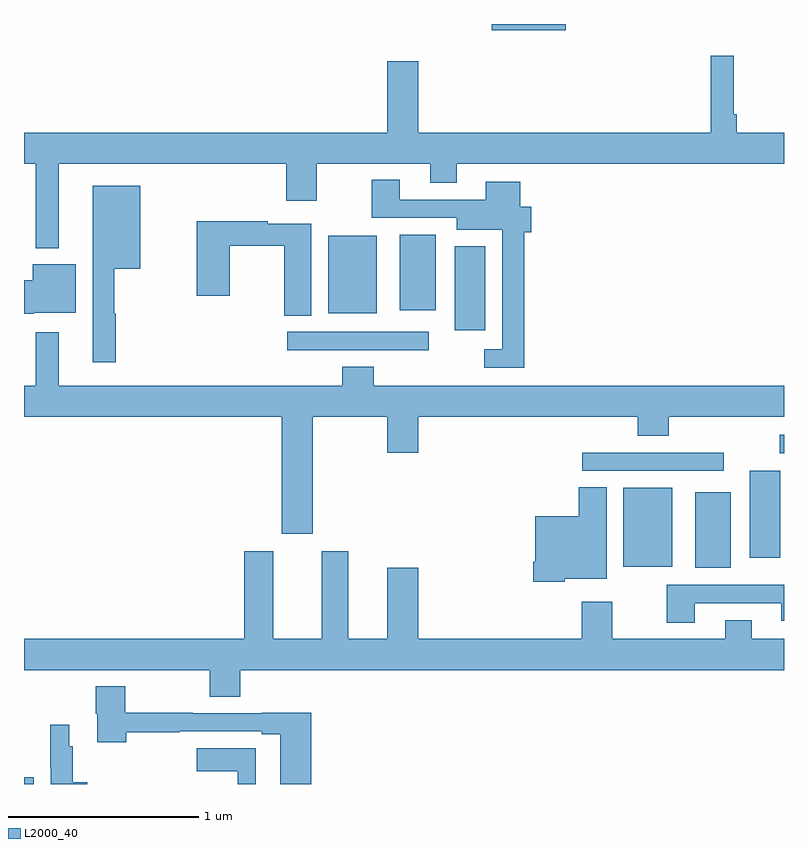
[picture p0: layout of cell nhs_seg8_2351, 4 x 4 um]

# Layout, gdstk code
import gdstk
lib = gdstk.Library(unit=1e-6, precision=1e-09)
def R(c, l, rs):  # rectangles x0, y0, x1, y1
    for r in rs: c.add(gdstk.rectangle(r[:2], r[2:], *l))
def P(c, l, *ps):  # polygons
    for p in ps: c.add(gdstk.Polygon(p, *l))
L2000_40 = (2000, 40)

nhs_seg8_2351 = lib.new_cell('nhs_seg8_2351')
R(nhs_seg8_2351, L2000_40, [(259,1115.9,259.051,1115.935), (262.532,1117.037,262.72,1117.435), (262.154,1117.043,262.411,1117.459), (262.82,1117.092,262.981,1117.549), (261.939,1117.548,262.684,1117.644), (262.977,1117.641,263,1117.737), (260.385,1118.184,261.13,1118.28), (261.266,1118.289,261.427,1118.731), (260.6,1118.378,260.857,1118.785), (260.978,1118.393,261.166,1118.791), (261.462,1119.866,261.85,1119.9)])
P(nhs_seg8_2351, L2000_40, [(262.615,1119.733),(262.615,1119.328),(261.076,1119.328),(261.076,1119.703),(260.912,1119.703),(260.912,1119.328),(259,1119.328),(259,1119.164),(259.062,1119.164),(259.062,1118.72),(259.183,1118.72),(259.183,1119.164),(260.381,1119.164),(260.381,1118.97),(260.541,1118.97),(260.541,1119.164),(261.137,1119.164),(261.137,1119.065),(261.277,1119.065),(261.277,1119.164),(263,1119.164),(263,1119.328),(262.751,1119.328),(262.751,1119.424),(262.736,1119.424),(262.736,1119.733)],
  [(261.632,1118.804),(261.671,1118.804),(261.671,1118.938),(261.613,1118.938),(261.613,1119.07),(261.431,1119.07),(261.431,1118.976),(260.977,1118.976),(260.977,1119.079),(260.83,1119.079),(260.83,1118.88),(261.278,1118.88),(261.278,1118.816),(261.516,1118.816),(261.516,1118.187),(261.423,1118.187),(261.423,1118.091),(261.632,1118.091)],
  [(259.483,1118.375),(259.475,1118.375),(259.475,1118.612),(259.612,1118.612),(259.612,1119.049),(259.361,1119.049),(259.361,1118.121),(259.483,1118.121)],
  [(260.512,1118.85),(260.282,1118.85),(260.282,1118.863),(259.909,1118.863),(259.909,1118.469),(260.082,1118.469),(260.082,1118.734),(260.371,1118.734),(260.371,1118.365),(260.512,1118.365)],
  [(259.05,1118.381),(259.273,1118.381),(259.273,1118.635),(259.046,1118.635),(259.046,1118.552),(259,1118.552),(259,1118.374),(259.05,1118.374)],
  [(260.521,1117.832),(260.912,1117.832),(260.912,1117.644),(261.076,1117.644),(261.076,1117.832),(262.229,1117.832),(262.229,1117.733),(262.394,1117.733),(262.394,1117.832),(263,1117.832),(263,1117.996),(260.84,1117.996),(260.84,1118.095),(260.675,1118.095),(260.675,1117.996),(259.183,1117.996),(259.183,1118.278),(259.062,1118.278),(259.062,1117.996),(259,1117.996),(259,1117.832),(260.357,1117.832),(260.357,1117.218),(260.521,1117.218)],
  [(261.846,1116.98),(262.066,1116.98),(262.066,1117.463),(261.92,1117.463),(261.92,1117.309),(261.692,1117.309),(261.692,1117.069),(261.68,1117.069),(261.68,1116.965),(261.846,1116.965)],
  [(260.138,1116.5),(263,1116.5),(263,1116.664),(262.831,1116.664),(262.831,1116.763),(262.691,1116.763),(262.691,1116.664),(262.095,1116.664),(262.095,1116.859),(261.935,1116.859),(261.935,1116.664),(261.076,1116.664),(261.076,1117.039),(260.912,1117.039),(260.912,1116.664),(260.707,1116.664),(260.707,1117.126),(260.567,1117.126),(260.567,1116.664),(260.311,1116.664),(260.311,1117.126),(260.159,1117.126),(260.159,1116.664),(259,1116.664),(259,1116.5),(259.978,1116.5),(259.978,1116.358),(260.138,1116.358)],
  [(262.531,1116.852),(262.985,1116.852),(262.985,1116.758),(263,1116.758),(263,1116.948),(262.384,1116.948),(262.384,1116.75),(262.531,1116.75)],
  [(260.513,1116.276),(260.252,1116.276),(260.252,1116.273),(259.889,1116.273),(259.889,1116.276),(259.533,1116.276),(259.533,1116.415),(259.378,1116.415),(259.378,1116.27),(259.385,1116.27),(259.385,1116.12),(259.538,1116.12),(259.538,1116.172),(259.82,1116.172),(259.82,1116.177),(260.252,1116.177),(260.252,1116.161),(260.348,1116.161),(260.348,1115.9),(260.513,1115.9)],
  [(259.333,1115.908),(259.256,1115.908),(259.256,1116.098),(259.237,1116.098),(259.237,1116.211),(259.139,1116.211),(259.139,1115.989),(259.14,1115.989),(259.14,1115.9),(259.333,1115.9)],
  [(260.22,1116.087),(259.908,1116.087),(259.908,1115.966),(260.124,1115.966),(260.124,1115.9),(260.22,1115.9)])

lib.write_gds('nhs_seg8_2351.gds')
